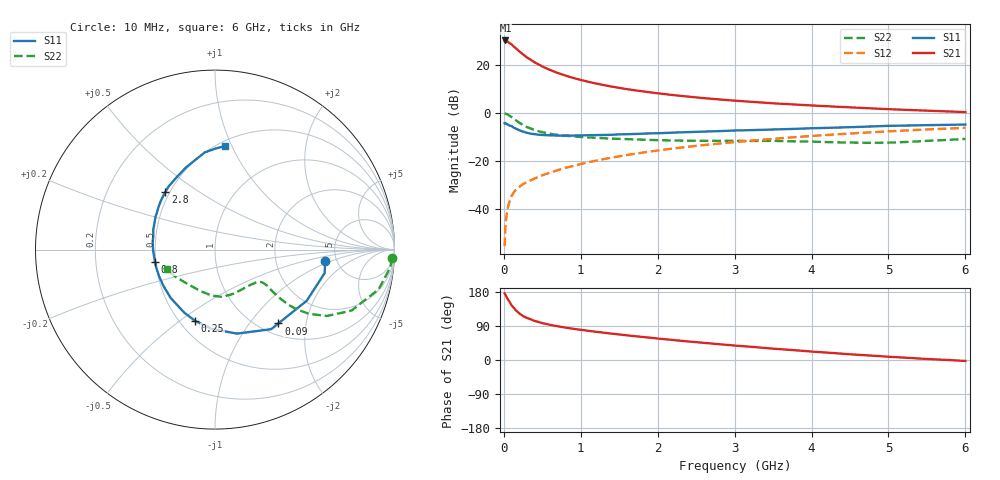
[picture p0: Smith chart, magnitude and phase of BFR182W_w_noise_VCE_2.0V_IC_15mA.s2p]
! Infineon Technologies  Discrete & RF Semiconductors
! BFR182W
! VCE =  2.0 V,  IC =  15 mA
! Common Emitter S-Parameters:  Jan 2017
# GHz  S  MA  R  50
!  f  S11  S21  S12  S22
! GHz  MAG  ANG  MAG  ANG  MAG  ANG  MAG  ANG
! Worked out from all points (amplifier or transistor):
!   77 points, 10 MHz to 6 GHz, reference 50 ohm
!   highest |S21| = 30.3 dB at 20 MHz (marker M1)
!   |S21| within 3 dB of that: start of sweep to 147.2 MHz
!   unconditionally stable (mu >= 1): 839.4 MHz to 2.519 GHz
!   at 130 MHz: K = 0.38, MSG = 30.4 dB, |S12| = -33.0 dB
!   at 2.2 GHz: K = 1.02, MAG = 10.3 dB, |S12| = -14.7 dB
!   at 6 GHz: K = 0.88, MSG = 3.3 dB, |S12| = -6.1 dB
!   lowest NFmin = 1.25 dB at 450 MHz
!   S11 on the Smith chart (normalised r, x): 10 MHz: 4.03, -0.85; 90 MHz: 1.20, -1.40; 250 MHz: 0.60, -0.57; 800 MHz: 0.49, -0.08; 2.8 GHz: 0.47, +0.37; 6 GHz: 0.54, +0.95
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0.01  0.617 -6.1  32.54 175.9  0.0017 86.3  0.986 -2.7
0.02  0.6248 -12.1  32.68 172.1  0.0043 86.6  0.9822 -5.7
0.05  0.5851 -29.2  30.97 160.7  0.0106 77.0  0.9387 -13.6
0.09  0.5421 -49.4  27.69 148.0  0.0171 70.6  0.8524 -21.7
0.1  0.5427 -54.8  27.11 144.4  0.0187 69.7  0.8339 -24.0
0.15  0.4837 -75.4  22.93 132.2  0.0249 64.3  0.7245 -30.7
0.2  0.4424 -92.1  19.44 123.1  0.029 61.3  0.6354 -34.3
0.25  0.413 -105.4  16.71 116.0  0.0335 60.3  0.5673 -36.1
0.3  0.3904 -116.2  14.49 110.9  0.0364 60.9  0.5135 -36.9
0.4  0.3655 -132.4  11.46 103.0  0.0436 62.3  0.4442 -36.8
0.5  0.3516 -144.7  9.383 97.4  0.0509 62.7  0.4009 -36.1
0.6  0.3448 -154.3  7.956 92.8  0.0578 64.5  0.3725 -35.4
0.8  0.3416 -168.4  6.08 85.5  0.0729 66.9  0.3395 -34.6
0.9  0.3418 -174.0  5.424 82.5  0.0793 67.3  0.3282 -34.6
1.1  0.3475 176.4  4.498 77.0  0.0953 68.1  0.3133 -35.3
1.5  0.3617 162.1  3.363 67.4  0.1263 67.6  0.2912 -39.3
2.1  0.3878 145.6  2.485 54.8  0.1753 64.8  0.2719 -50.3
2.8  0.4232 130.7  1.932 41.6  0.2332 60.2  0.2662 -66.8
3.1  0.439 124.9  1.778 36.6  0.2583 57.8  0.2649 -73.7
4.1  0.4897 108.1  1.422 20.9  0.3435 49.1  0.2527 -97.4
5.1  0.548 94.6  1.194 7.5  0.4262 39.4  0.2466 -131.2
6  0.58 84.3  1.054 -2.5  0.4953 30.1  0.291 -157.9
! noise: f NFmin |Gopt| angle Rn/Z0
0.45  1.25  0.04  146  0.15
0.9  1.33  0.05  146  0.15
1.9  1.82  0.24  -148  0.15
2.4  2.07  0.24  -133  0.22
